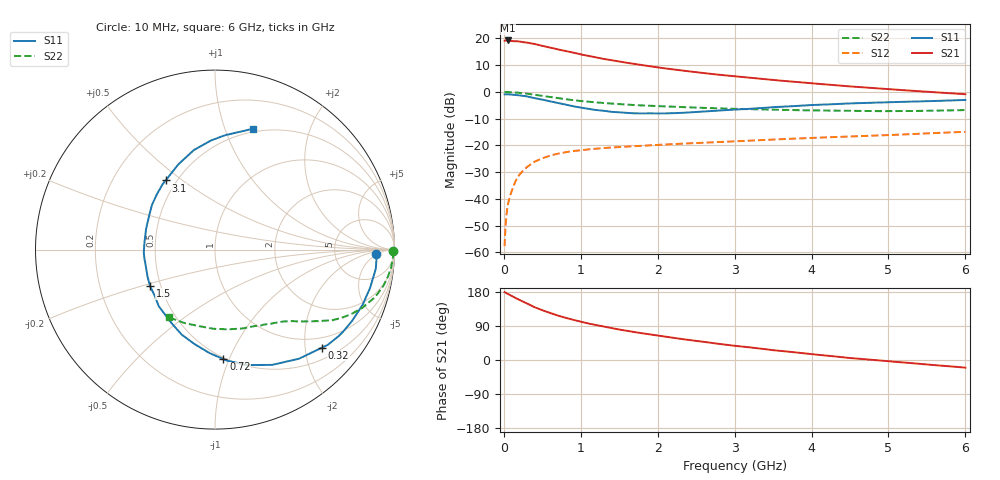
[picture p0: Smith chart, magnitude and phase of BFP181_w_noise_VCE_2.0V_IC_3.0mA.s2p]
! (c) 2016  Infineon Technologies AG, Munich
! Infineon Technologies  Discrete & RF Semiconductors
! BFP181
! VCE = 2.0 V,  IC =  3.0 mA
! Common Emitter S-Parameters:  Jan 2016
# GHz  S  MA  R  50
!  f  S11  S21  S12  S22
! GHz  MAG  ANG  MAG  ANG  MAG  ANG  MAG  ANG
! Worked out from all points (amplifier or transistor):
!   210 points, 10 MHz to 6 GHz, reference 50 ohm
!   highest |S21| = 19.2 dB at 50 MHz (marker M1)
!   |S21| within 3 dB of that: start of sweep to 653.2 MHz
!   unconditionally stable (mu >= 1): 2.036 GHz to end of sweep
!   at 185 MHz: K = 0.13, MSG = 25.3 dB, |S12| = -31.8 dB
!   at 1.52 GHz: K = 0.82, MSG = 15.9 dB, |S12| = -20.6 dB
!   at 6 GHz: K = 1.08, MAG = 5.4 dB, |S12| = -14.9 dB
!   lowest NFmin = 1.40 dB at 450 MHz
!   S11 on the Smith chart (normalised r, x): 10 MHz: 18, -4; 320 MHz: 0.75, -2.37; 720 MHz: 0.49, -0.95; 1.5 GHz: 0.44, -0.21; 3.1 GHz: 0.44, +0.43; 6 GHz: 0.47, +1.25
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0.01  0.8979 -1.5  9.05 179.1  0.0013 89.3  0.9943 -0.6
0.025  0.9012 -3.6  9.131 177.7  0.0035 86.2  0.9949 -1.5
0.05  0.9022 -6.8  9.15 174.5  0.0075 89.4  0.9913 -3.1
0.125  0.8825 -17.2  8.9 166.6  0.0173 79.0  0.9798 -7.5
0.2  0.861 -27.4  8.767 158.6  0.0279 74.5  0.9609 -11.9
0.24  0.8484 -32.4  8.545 154.5  0.0324 71.4  0.9475 -14.0
0.32  0.8086 -42.5  8.237 147.4  0.0411 65.8  0.9165 -17.9
0.4  0.7672 -52.4  7.867 139.3  0.0494 61.5  0.8833 -21.5
0.5  0.7171 -63.6  7.254 131.3  0.0573 55.7  0.8412 -25.2
0.6  0.6683 -74.3  6.775 124.1  0.0642 51.1  0.8019 -28.3
0.72  0.6119 -85.6  6.152 116.3  0.0706 46.9  0.7566 -31.4
0.88  0.5451 -100.3  5.508 107.1  0.0775 42.2  0.7059 -34.3
1.02  0.5026 -112.8  4.956 100.2  0.0814 39.1  0.67 -36.6
1.22  0.4541 -128.9  4.349 91.4  0.0872 35.7  0.6316 -39.3
1.5  0.4151 -150.7  3.701 80.4  0.0929 32.8  0.5895 -42.5
1.8  0.3961 -171.9  3.157 70.3  0.098 30.9  0.5572 -45.8
2.02  0.395 174.9  2.843 63.8  0.1023 29.2  0.5403 -48.5
2.6  0.4308 144.5  2.246 47.8  0.1118 27.1  0.5006 -56.2
3.1  0.4736 125.5  1.896 35.5  0.1206 25.1  0.4772 -63.8
4.1  0.5737 99.9  1.409 13.4  0.1393 20.8  0.4475 -82.5
5.1  0.6454 83.5  1.099 -5.0  0.1575 16.9  0.4361 -104.2
6  0.7055 72.7  0.904 -20.2  0.179 12.2  0.4569 -124.3
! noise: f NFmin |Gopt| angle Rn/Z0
0.45  1.4  0.56  17  0.36
0.9  1.5  0.45  35  0.34
1.8  1.85  0.25  82  0.36
